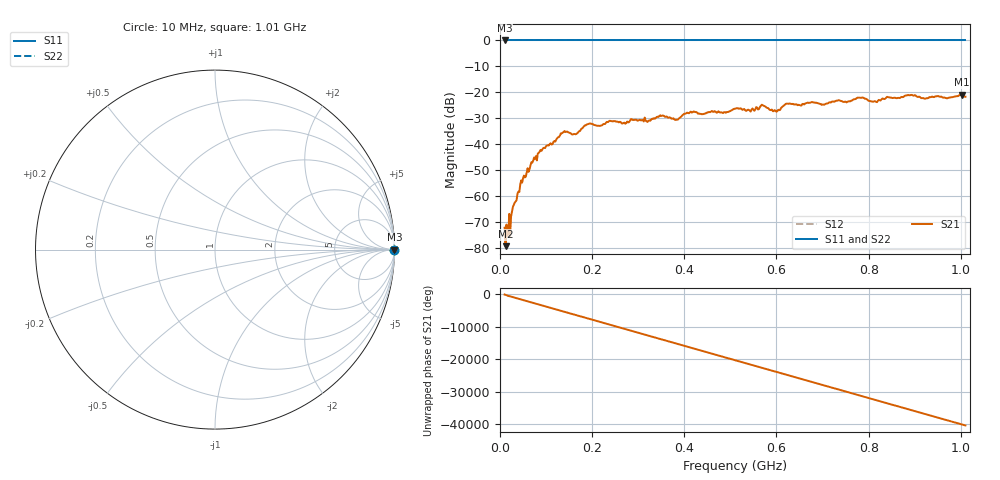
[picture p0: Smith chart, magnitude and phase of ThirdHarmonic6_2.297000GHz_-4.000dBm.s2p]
! 8/17/2025 3:05:24 AM
! C:\ANRITSUVNA\TEMP\TEMP.S2P
! CHANNEL.1
! TR.MEASUREMENT
! RAW.DATA
! RF.CORRECTION.OFF
! AVERAGING.OFF
! IF.BANDWIDTH: 5KHZ
! SWEEPTYPE:  FREQ.SWEEP(Linear)
! Reference Plane Port Info
! PORT:  PORT1  PORT2
! DISTANCE:  0  m  0  m
! TIME:  0  s  0  s
! PHASE.OFFSET:  0  deg.  0  deg.
! LOSS:  0  dB  0  dB
! REF.LOSS:  0  dB  0  dB
! REF.FREQ:  0  Hz  0  Hz
! Power Info
! POWER:  -20  dBm  -20  dBm
! EFF.POWER:  -20  dBm  -20  dBm
! SOURCE.ATTEN:  0  dB  0  dB
! TEST.ATTEN:  0  dB  0  dB
# GHZ S RI R 50.0
! FREQ.GHZ  S11RE  S11IM  S21RE  S21IM  S12RE  S12IM  S22RE  S22IM
!; PortSelection: Port_12
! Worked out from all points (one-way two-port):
!   501 points, 10 MHz to 1.01 GHz, reference 50 ohm
!   highest |S21| = -20.88 dB at 1.002 GHz (marker M1); lowest = -79.2 dB at 12 MHz (marker M2)
!   lowest |S11| = 0.0 dB at 10 MHz (marker M3)
!   |S11| at or under -10 dB: nowhere
!   |S22| runs from 0.0 to 0.0 dB; largest |S21 - S12| = 1.1
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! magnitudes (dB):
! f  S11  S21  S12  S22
! 10 MHz  0.0  -72.1  0.0  0.0
! 12 MHz  0.0  -79.2  0.0  0.0
! 20 MHz  0.0  -66.7  0.0  0.0
! 28 MHz  0.0  -64.0  0.0  0.0
! 48 MHz  0.0  -54.7  0.0  0.0
! 72 MHz  0.0  -46.3  0.0  0.0
! 136 MHz  0.0  -35.5  0.0  0.0
! 162 MHz  0.0  -36.0  0.0  0.0
! 178 MHz  0.0  -33.9  0.0  0.0
! 192 MHz  0.0  -32.1  0.0  0.0
! 322 MHz  0.0  -30.9  0.0  0.0
! 344 MHz  0.0  -29.4  0.0  0.0
! 382 MHz  0.0  -30.5  0.0  0.0
! 416 MHz  0.0  -27.7  0.0  0.0
! 510 MHz  0.0  -26.3  0.0  0.0
! 570 MHz  0.0  -24.9  0.0  0.0
! 598 MHz  0.0  -27.1  0.0  0.0
! 624 MHz  0.0  -24.3  0.0  0.0
! 678 MHz  0.0  -23.7  0.0  0.0
! 844 MHz  0.0  -21.9  0.0  0.0
! 1.002 GHz  0.0  -20.9  0.0  0.0
! 1.01 GHz  0.0  -21.6  0.0  0.0
